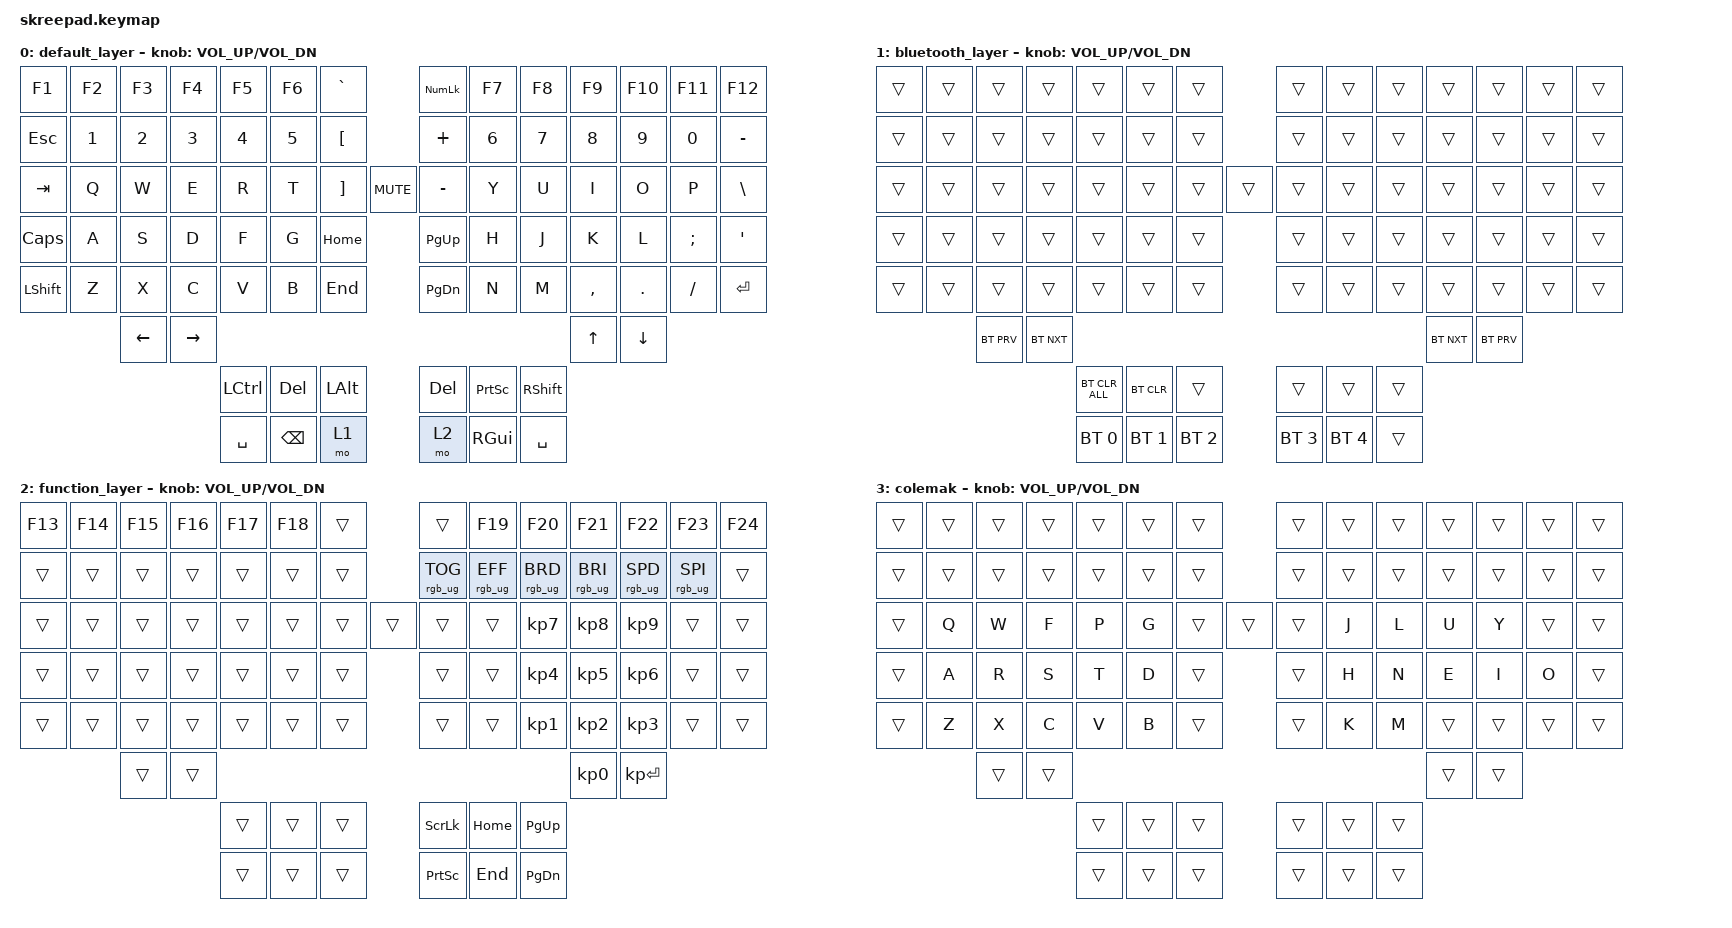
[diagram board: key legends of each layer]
#include <dt-bindings/zmk/mouse.h>
#include <behaviors.dtsi>
#include <dt-bindings/zmk/bt.h>
#include <dt-bindings/zmk/keys.h>
#include <dt-bindings/zmk/rgb.h>

/ {
    combos {
        compatible = "zmk,combos";

        toggle_colemak {
            bindings = <&tog 3>;
            key-positions = <84 7>;
        };

        toggle_function {
            bindings = <&tog 2>;
            key-positions = <7 83>;
        };
    };

    keymap {
        compatible = "zmk,keymap";

        default_layer {
            bindings = <
&kp F1     &kp F2  &kp F3          &kp F4           &kp F5     &kp F6    &kp GRAVE                        &kp KP_NLCK  &kp F7     &kp F8     &kp F9        &kp F10         &kp F11   &kp F12
&kp ESC    &kp N1  &kp N2          &kp N3           &kp N4     &kp N5    &kp LEFT_BRACKET                 &kp PLUS     &kp N6     &kp N7     &kp N8        &kp N9          &kp N0    &kp MINUS
&kp TAB    &kp Q   &kp W           &kp E            &kp R      &kp T     &kp RIGHT_BRACKET    &kp C_MUTE  &kp MINUS    &kp Y      &kp U      &kp I         &kp O           &kp P     &kp BSLH
&kp CAPS   &kp A   &kp S           &kp D            &kp F      &kp G     &kp HOME                         &kp PG_UP    &kp H      &kp J      &kp K         &kp L           &kp SEMI  &kp SQT
&kp LSHFT  &kp Z   &kp X           &kp C            &kp V      &kp B     &kp END                          &kp PG_DN    &kp N      &kp M      &kp COMMA     &kp DOT         &kp FSLH  &kp RET
                   &kp LEFT_ARROW  &kp RIGHT_ARROW                                                                                           &kp UP_ARROW  &kp DOWN_ARROW
                                                    &kp LCTRL  &kp DEL   &kp LALT                         &kp DEL      &kp PSCRN  &kp RSHFT
                                                    &kp SPACE  &kp BSPC  &mo 1                            &mo 2        &kp RGUI   &kp SPACE
            >;

            sensor-bindings = <&inc_dec_kp C_VOL_UP C_VOL_DN>;
        };

        bluetooth_layer {
            bindings = <
&trans  &trans  &trans      &trans      &trans          &trans        &trans                  &trans        &trans        &trans  &trans      &trans      &trans  &trans
&trans  &trans  &trans      &trans      &trans          &trans        &trans                  &trans        &trans        &trans  &trans      &trans      &trans  &trans
&trans  &trans  &trans      &trans      &trans          &trans        &trans          &trans  &trans        &trans        &trans  &trans      &trans      &trans  &trans
&trans  &trans  &trans      &trans      &trans          &trans        &trans                  &trans        &trans        &trans  &trans      &trans      &trans  &trans
&trans  &trans  &trans      &trans      &trans          &trans        &trans                  &trans        &trans        &trans  &trans      &trans      &trans  &trans
                &bt BT_PRV  &bt BT_NXT                                                                                            &bt BT_NXT  &bt BT_PRV
                                        &bt BT_CLR_ALL  &bt BT_CLR    &trans                  &trans        &trans        &trans
                                        &bt BT_SEL 0    &bt BT_SEL 1  &bt BT_SEL 2            &bt BT_SEL 3  &bt BT_SEL 4  &trans
            >;

            sensor-bindings = <&inc_dec_kp C_VOL_UP C_VOL_DN>;
        };

        function_layer {
            bindings = <
&kp F13  &kp F14  &kp F15  &kp F16  &kp F17  &kp F18  &trans            &trans           &kp F19          &kp F20          &kp F21          &kp F22          &kp F23          &kp F24
&trans   &trans   &trans   &trans   &trans   &trans   &trans            &rgb_ug RGB_TOG  &rgb_ug RGB_EFF  &rgb_ug RGB_BRD  &rgb_ug RGB_BRI  &rgb_ug RGB_SPD  &rgb_ug RGB_SPI  &trans
&trans   &trans   &trans   &trans   &trans   &trans   &trans    &trans  &trans           &trans           &kp KP_NUMBER_7  &kp KP_NUMBER_8  &kp KP_NUMBER_9  &trans           &trans
&trans   &trans   &trans   &trans   &trans   &trans   &trans            &trans           &trans           &kp KP_NUMBER_4  &kp KP_NUMBER_5  &kp KP_NUMBER_6  &trans           &trans
&trans   &trans   &trans   &trans   &trans   &trans   &trans            &trans           &trans           &kp KP_NUMBER_1  &kp KP_NUMBER_2  &kp KP_NUMBER_3  &trans           &trans
                  &trans   &trans                                                                                          &kp KP_NUMBER_0  &kp KP_ENTER
                                    &trans   &trans   &trans            &kp SCROLLLOCK   &kp HOME         &kp PAGE_UP
                                    &trans   &trans   &trans            &kp PSCRN        &kp END          &kp PAGE_DOWN
            >;

            sensor-bindings = <&inc_dec_kp C_VOL_UP C_VOL_DN>;
        };

        colemak {
            bindings = <
&trans  &trans  &trans  &trans  &trans  &trans  &trans            &trans  &trans  &trans  &trans  &trans  &trans  &trans
&trans  &trans  &trans  &trans  &trans  &trans  &trans            &trans  &trans  &trans  &trans  &trans  &trans  &trans
&trans  &kp Q   &kp W   &kp F   &kp P   &kp G   &trans    &trans  &trans  &kp J   &kp L   &kp U   &kp Y   &trans  &trans
&trans  &kp A   &kp R   &kp S   &kp T   &kp D   &trans            &trans  &kp H   &kp N   &kp E   &kp I   &kp O   &trans
&trans  &kp Z   &kp X   &kp C   &kp V   &kp B   &trans            &trans  &kp K   &kp M   &trans  &trans  &trans  &trans
                &trans  &trans                                                            &trans  &trans
                                &trans  &trans  &trans            &trans  &trans  &trans
                                &trans  &trans  &trans            &trans  &trans  &trans
            >;

            sensor-bindings = <&inc_dec_kp C_VOL_UP C_VOL_DN>;
        };
    };
};
